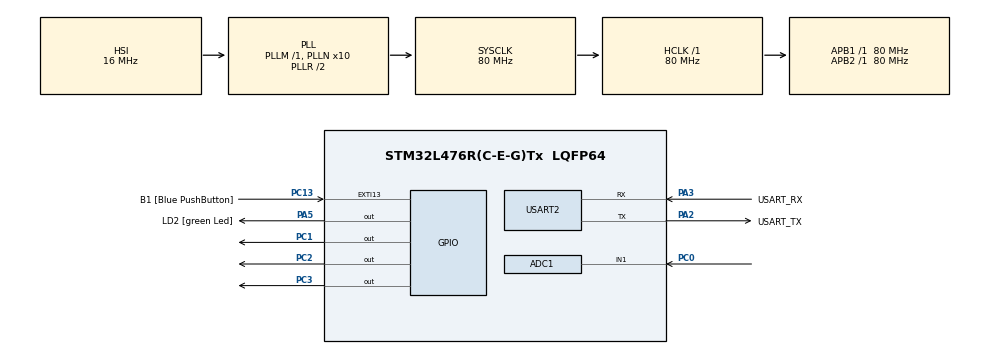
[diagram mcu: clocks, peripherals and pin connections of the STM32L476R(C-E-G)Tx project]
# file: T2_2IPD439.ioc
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ADC1.Channel-2\#ChannelRegularConversion=ADC_CHANNEL_1
ADC1.ClockPrescaler=ADC_CLOCK_ASYNC_DIV1
ADC1.NbrOfConversionFlag=1
ADC1.OffsetNumber-2\#ChannelRegularConversion=ADC_OFFSET_NONE
ADC1.Rank-2\#ChannelRegularConversion=1
ADC1.SamplingTime-2\#ChannelRegularConversion=ADC_SAMPLETIME_2CYCLES_5
ADC1.master=1
FREERTOS.Queues01=fp_queque,100,4,1,Dynamic,NULL,NULL;adc_queue,10,4,1,Dynamic,NULL,NULL;led_queue,10,1,1,Dynamic,NULL,NULL
FREERTOS.Tasks01=TaskLecture,24,512,StartTaskLecture,Default,NULL,Dynamic,NULL,NULL;TaskADC,32,128,StartTaskADC,Default,NULL,Dynamic,NULL,NULL;TaskProc,24,128,StartTaskProc,Default,NULL,Dynamic,NULL,NULL;TaskCtrl,24,128,StartTaskCtrl,Default,NULL,Dynamic,NULL,NULL
FREERTOS.configTOTAL_HEAP_SIZE=8192
Mcu.Family=STM32L4
Mcu.Name=STM32L476R(C-E-G)Tx
Mcu.Package=LQFP64
NVIC.PriorityGroup=NVIC_PRIORITYGROUP_4
NVIC.USART2_IRQn=true\:5\:0\:false\:false\:true\:true\:true\:true\:true
PA13\ (JTMS-SWDIO).GPIO_Label=TMS
PA13\ (JTMS-SWDIO).Mode=Serial_Wire
PA13\ (JTMS-SWDIO).Signal=SYS_JTMS-SWDIO
PA14\ (JTCK-SWCLK).GPIO_Label=TCK
PA14\ (JTCK-SWCLK).Mode=Serial_Wire
PA14\ (JTCK-SWCLK).Signal=SYS_JTCK-SWCLK
PA2.GPIO_Label=USART_TX
PA2.GPIO_Mode=GPIO_MODE_AF_PP
PA2.GPIO_PuPd=GPIO_NOPULL
PA2.GPIO_Speed=GPIO_SPEED_FREQ_VERY_HIGH
PA2.Mode=Asynchronous
PA2.Signal=USART2_TX
PA3.GPIO_Label=USART_RX
PA3.GPIO_Mode=GPIO_MODE_AF_PP
PA3.GPIO_PuPd=GPIO_NOPULL
PA3.GPIO_Speed=GPIO_SPEED_FREQ_VERY_HIGH
PA3.Mode=Asynchronous
PA3.Signal=USART2_RX
PA5.GPIO_Label=LD2 [green Led]
PA5.GPIO_ModeDefaultOutputPP=GPIO_MODE_OUTPUT_PP
PA5.GPIO_PuPd=GPIO_NOPULL
PA5.GPIO_Speed=GPIO_SPEED_FREQ_LOW
PA5.Signal=GPIO_Output
PB3\ (JTDO-TRACESWO).GPIO_Label=SWO
PB3\ (JTDO-TRACESWO).Signal=SYS_JTDO-SWO
PC0.Signal=ADCx_IN1
PC1.Signal=GPIO_Output
PC13.GPIO_Label=B1 [Blue PushButton]
PC13.GPIO_ModeDefaultEXTI=GPIO_MODE_IT_FALLING
PC13.GPIO_PuPd=GPIO_NOPULL
PC13.Signal=GPXTI13
PC14-OSC32_IN\ (PC14).Mode=LSE-External-Oscillator
PC14-OSC32_IN\ (PC14).Signal=RCC_OSC32_IN
PC15-OSC32_OUT\ (PC15).Mode=LSE-External-Oscillator
PC15-OSC32_OUT\ (PC15).Signal=RCC_OSC32_OUT
PC2.Signal=GPIO_Output
PC3.Signal=GPIO_Output
PH0-OSC_IN\ (PH0).Signal=RCC_OSC_IN
PH1-OSC_OUT\ (PH1).Signal=RCC_OSC_OUT
ProjectManager.HeapSize=0x200
ProjectManager.StackSize=0x400
ProjectManager.TargetToolchain=STM32CubeIDE
RCC.ADCFreq_Value=64000000
RCC.AHBFreq_Value=80000000
RCC.APB1Freq_Value=80000000
RCC.APB1TimFreq_Value=80000000
RCC.APB2Freq_Value=80000000
RCC.APB2TimFreq_Value=80000000
RCC.CortexFreq_Value=80000000
RCC.HCLKFreq_Value=80000000
RCC.HSE_VALUE=8000000
RCC.HSI_VALUE=16000000
RCC.MSI_VALUE=4000000
RCC.PLLN=10
RCC.PLLSourceVirtual=RCC_PLLSOURCE_HSI
RCC.PREFETCH_ENABLE=1
RCC.SYSCLKFreq_VALUE=80000000
RCC.SYSCLKSource=RCC_SYSCLKSOURCE_PLLCLK
RCC.USBFreq_Value=64000000
RCC.VCOOutputFreq_Value=160000000
SH.ADCx_IN1.0=ADC1_IN1,IN1-Single-Ended
USART2.VirtualMode-Asynchronous=VM_ASYNC
VP_FREERTOS_VS_CMSIS_V2.Mode=CMSIS_V2
board=NUCLEO-L476RG

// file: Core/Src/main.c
/* USER CODE BEGIN Header */
/**
  ******************************************************************************
  * @file           : main.c
  * @brief          : Main program body
  ******************************************************************************
  * @attention
  *
  * Copyright (c) 2026 STMicroelectronics.
  * All rights reserved.
  *
  * This software is licensed under terms that can be found in the LICENSE file
  * in the root directory of this software component.
  * If no LICENSE file comes with this software, it is provided AS-IS.
  *
  ******************************************************************************
  */
/* USER CODE END Header */
#include "main.h"
#include "cmsis_os.h"

/* USER CODE BEGIN Includes */
#include <math.h>
#include <stdio.h>
#include <string.h>
/* USER CODE END Includes */

ADC_HandleTypeDef hadc1;

UART_HandleTypeDef huart2;

/* Definitions for TaskLecture */
osThreadId_t TaskLectureHandle;
const osThreadAttr_t TaskLecture_attributes = {
  .name = "TaskLecture",
  .stack_size = 512 * 4,
  .priority = (osPriority_t) osPriorityNormal,
};
/* Definitions for TaskADC */
osThreadId_t TaskADCHandle;
const osThreadAttr_t TaskADC_attributes = {
  .name = "TaskADC",
  .stack_size = 128 * 4,
  .priority = (osPriority_t) osPriorityAboveNormal,
};
/* Definitions for TaskProc */
osThreadId_t TaskProcHandle;
const osThreadAttr_t TaskProc_attributes = {
  .name = "TaskProc",
  .stack_size = 128 * 4,
  .priority = (osPriority_t) osPriorityNormal,
};
/* Definitions for TaskCtrl */
osThreadId_t TaskCtrlHandle;
const osThreadAttr_t TaskCtrl_attributes = {
  .name = "TaskCtrl",
  .stack_size = 128 * 4,
  .priority = (osPriority_t) osPriorityNormal,
};
/* Definitions for fp_queque */
osMessageQueueId_t fp_quequeHandle;
const osMessageQueueAttr_t fp_queque_attributes = {
  .name = "fp_queque"
};
/* Definitions for adc_queue */
osMessageQueueId_t adc_queueHandle;
const osMessageQueueAttr_t adc_queue_attributes = {
  .name = "adc_queue"
};
/* Definitions for led_queue */
osMessageQueueId_t led_queueHandle;
const osMessageQueueAttr_t led_queue_attributes = {
  .name = "led_queue"
};
/* USER CODE BEGIN PV */
uint8_t buffer[4];
/* USER CODE END PV */

void SystemClock_Config(void);
static void MX_GPIO_Init(void);
static void MX_USART2_UART_Init(void);
static void MX_ADC1_Init(void);
void StartTaskLecture(void *argument);
void StartTaskADC(void *argument);
void StartTaskProc(void *argument);
void StartTaskCtrl(void *argument);

int main(void)
{

  /* MCU Configuration--------------------------------------------------------*/

  /* Reset of all peripherals, Initializes the Flash interface and the Systick. */
  HAL_Init();

  /* Configure the system clock */
  SystemClock_Config();

  /* Initialize all configured peripherals */
  MX_GPIO_Init();
  MX_USART2_UART_Init();
  MX_ADC1_Init();
  /* USER CODE BEGIN 2 */
  HAL_UART_Receive_IT(&huart2, buffer, 4);
  /* USER CODE END 2 */

  /* Init scheduler */
  osKernelInitialize();

  /* Create the queue(s) */
  /* creation of fp_queque */
  fp_quequeHandle = osMessageQueueNew (100, 4, &fp_queque_attributes);

  /* creation of adc_queue */
  adc_queueHandle = osMessageQueueNew (10, 4, &adc_queue_attributes);

  /* creation of led_queue */
  led_queueHandle = osMessageQueueNew (10, 1, &led_queue_attributes);

  /* Create the thread(s) */
  /* creation of TaskLecture */
  TaskLectureHandle = osThreadNew(StartTaskLecture, NULL, &TaskLecture_attributes);

  /* creation of TaskADC */
  TaskADCHandle = osThreadNew(StartTaskADC, NULL, &TaskADC_attributes);

  /* creation of TaskProc */
  TaskProcHandle = osThreadNew(StartTaskProc, NULL, &TaskProc_attributes);

  /* creation of TaskCtrl */
  TaskCtrlHandle = osThreadNew(StartTaskCtrl, NULL, &TaskCtrl_attributes);

  /* Start scheduler */
  osKernelStart();

  /* We should never get here as control is now taken by the scheduler */

  /* Infinite loop */
  while (1)
  {

  }
}

void SystemClock_Config(void)
{
  RCC_OscInitTypeDef RCC_OscInitStruct = {0};
  RCC_ClkInitTypeDef RCC_ClkInitStruct = {0};

  /** Configure the main internal regulator output voltage
  */
  if (HAL_PWREx_ControlVoltageScaling(PWR_REGULATOR_VOLTAGE_SCALE1) != HAL_OK)
  {
    Error_Handler();
  }

  /** Initializes the RCC Oscillators according to the specified parameters
  * in the RCC_OscInitTypeDef structure.
  */
  RCC_OscInitStruct.OscillatorType = RCC_OSCILLATORTYPE_HSI;
  RCC_OscInitStruct.HSIState = RCC_HSI_ON;
  RCC_OscInitStruct.HSICalibrationValue = RCC_HSICALIBRATION_DEFAULT;
  RCC_OscInitStruct.PLL.PLLState = RCC_PLL_ON;
  RCC_OscInitStruct.PLL.PLLSource = RCC_PLLSOURCE_HSI;
  RCC_OscInitStruct.PLL.PLLM = 1;
  RCC_OscInitStruct.PLL.PLLN = 10;
  RCC_OscInitStruct.PLL.PLLP = RCC_PLLP_DIV7;
  RCC_OscInitStruct.PLL.PLLQ = RCC_PLLQ_DIV2;
  RCC_OscInitStruct.PLL.PLLR = RCC_PLLR_DIV2;
  if (HAL_RCC_OscConfig(&RCC_OscInitStruct) != HAL_OK)
  {
    Error_Handler();
  }

  /** Initializes the CPU, AHB and APB buses clocks
  */
  RCC_ClkInitStruct.ClockType = RCC_CLOCKTYPE_HCLK|RCC_CLOCKTYPE_SYSCLK
                              |RCC_CLOCKTYPE_PCLK1|RCC_CLOCKTYPE_PCLK2;
  RCC_ClkInitStruct.SYSCLKSource = RCC_SYSCLKSOURCE_PLLCLK;
  RCC_ClkInitStruct.AHBCLKDivider = RCC_SYSCLK_DIV1;
  RCC_ClkInitStruct.APB1CLKDivider = RCC_HCLK_DIV1;
  RCC_ClkInitStruct.APB2CLKDivider = RCC_HCLK_DIV1;

  if (HAL_RCC_ClockConfig(&RCC_ClkInitStruct, FLASH_LATENCY_4) != HAL_OK)
  {
    Error_Handler();
  }
}

static void MX_ADC1_Init(void)
{

  ADC_MultiModeTypeDef multimode = {0};
  ADC_ChannelConfTypeDef sConfig = {0};

  /** Common config
  */
  hadc1.Instance = ADC1;
  hadc1.Init.ClockPrescaler = ADC_CLOCK_ASYNC_DIV1;
  hadc1.Init.Resolution = ADC_RESOLUTION_12B;
  hadc1.Init.DataAlign = ADC_DATAALIGN_RIGHT;
  hadc1.Init.ScanConvMode = ADC_SCAN_DISABLE;
  hadc1.Init.EOCSelection = ADC_EOC_SINGLE_CONV;
  hadc1.Init.LowPowerAutoWait = DISABLE;
  hadc1.Init.ContinuousConvMode = DISABLE;
  hadc1.Init.NbrOfConversion = 1;
  hadc1.Init.DiscontinuousConvMode = DISABLE;
  hadc1.Init.ExternalTrigConv = ADC_SOFTWARE_START;
  hadc1.Init.ExternalTrigConvEdge = ADC_EXTERNALTRIGCONVEDGE_NONE;
  hadc1.Init.DMAContinuousRequests = DISABLE;
  hadc1.Init.Overrun = ADC_OVR_DATA_PRESERVED;
  hadc1.Init.OversamplingMode = DISABLE;
  if (HAL_ADC_Init(&hadc1) != HAL_OK)
  {
    Error_Handler();
  }

  /** Configure the ADC multi-mode
  */
  multimode.Mode = ADC_MODE_INDEPENDENT;
  if (HAL_ADCEx_MultiModeConfigChannel(&hadc1, &multimode) != HAL_OK)
  {
    Error_Handler();
  }

  /** Configure Regular Channel
  */
  sConfig.Channel = ADC_CHANNEL_1;
  sConfig.Rank = ADC_REGULAR_RANK_1;
  sConfig.SamplingTime = ADC_SAMPLETIME_2CYCLES_5;
  sConfig.SingleDiff = ADC_SINGLE_ENDED;
  sConfig.OffsetNumber = ADC_OFFSET_NONE;
  sConfig.Offset = 0;
  if (HAL_ADC_ConfigChannel(&hadc1, &sConfig) != HAL_OK)
  {
    Error_Handler();
  }

}

static void MX_USART2_UART_Init(void)
{

  huart2.Instance = USART2;
  huart2.Init.BaudRate = 115200;
  huart2.Init.WordLength = UART_WORDLENGTH_8B;
  huart2.Init.StopBits = UART_STOPBITS_1;
  huart2.Init.Parity = UART_PARITY_NONE;
  huart2.Init.Mode = UART_MODE_TX_RX;
  huart2.Init.HwFlowCtl = UART_HWCONTROL_NONE;
  huart2.Init.OverSampling = UART_OVERSAMPLING_16;
  huart2.Init.OneBitSampling = UART_ONE_BIT_SAMPLE_DISABLE;
  huart2.AdvancedInit.AdvFeatureInit = UART_ADVFEATURE_NO_INIT;
  if (HAL_UART_Init(&huart2) != HAL_OK)
  {
    Error_Handler();
  }

}

static void MX_GPIO_Init(void)
{
  GPIO_InitTypeDef GPIO_InitStruct = {0};

  /* GPIO Ports Clock Enable */
  __HAL_RCC_GPIOC_CLK_ENABLE();
  __HAL_RCC_GPIOH_CLK_ENABLE();
  __HAL_RCC_GPIOA_CLK_ENABLE();
  __HAL_RCC_GPIOB_CLK_ENABLE();

  /*Configure GPIO pin Output Level */
  HAL_GPIO_WritePin(GPIOC, GPIO_PIN_1|GPIO_PIN_2|GPIO_PIN_3, GPIO_PIN_RESET);

  /*Configure GPIO pin Output Level */
  HAL_GPIO_WritePin(LD2_GPIO_Port, LD2_Pin, GPIO_PIN_RESET);

  /*Configure GPIO pin : B1_Pin */
  GPIO_InitStruct.Pin = B1_Pin;
  GPIO_InitStruct.Mode = GPIO_MODE_IT_FALLING;
  GPIO_InitStruct.Pull = GPIO_NOPULL;
  HAL_GPIO_Init(B1_GPIO_Port, &GPIO_InitStruct);

  /*Configure GPIO pins : PC1 PC2 PC3 */
  GPIO_InitStruct.Pin = GPIO_PIN_1|GPIO_PIN_2|GPIO_PIN_3;
  GPIO_InitStruct.Mode = GPIO_MODE_OUTPUT_PP;
  GPIO_InitStruct.Pull = GPIO_NOPULL;
  GPIO_InitStruct.Speed = GPIO_SPEED_FREQ_LOW;
  HAL_GPIO_Init(GPIOC, &GPIO_InitStruct);

  /*Configure GPIO pin : LD2_Pin */
  GPIO_InitStruct.Pin = LD2_Pin;
  GPIO_InitStruct.Mode = GPIO_MODE_OUTPUT_PP;
  GPIO_InitStruct.Pull = GPIO_NOPULL;
  GPIO_InitStruct.Speed = GPIO_SPEED_FREQ_LOW;
  HAL_GPIO_Init(LD2_GPIO_Port, &GPIO_InitStruct);

}

/* USER CODE BEGIN 4 */
void HAL_UART_RxCpltCallback(UART_HandleTypeDef *huart)
{
    static uint8_t estado = 0;
    static uint8_t contador = 0;

    if (huart->Instance == USART2) {
        if (estado == 0) {
            if (buffer[0] == 0xAA && buffer[1] == 0xBB && buffer[2] == 0xCC && buffer[3] == 0xDD) {
                estado = 1;
                contador = 0;
            }
        } else if (estado == 1){
            float dato;
            memcpy(&dato, buffer, sizeof(float));
            osMessageQueuePut(fp_quequeHandle, &dato, 0, 0);

            contador++;
            if (contador >= 100) estado = 0;
        }

        HAL_UART_Receive_IT(&huart2, buffer, 4);
    }
}
/* USER CODE END 4 */

void StartTaskLecture(void *argument)
{
  /* USER CODE BEGIN 5 */
	float datos[100];
	float dato_rx;
	char buffer_tx[64];
	int i = 0;
  /* Infinite loop */
  for(;;)
  {
	  if (osMessageQueueGet(fp_quequeHandle, &dato_rx, NULL, osWaitForever) == osOK) {
		  datos[i]  = dato_rx;
		  i++;
		  if (i == 100) {
			  float sum = 0.0f;
			  for (int j = 0; j<100; j++) sum+=datos[j];
			  sum = sum/100.0f;
			  float stdr = 0.0f;
			  for (int j = 0; j<100; j++) stdr+=powf(datos[j]-sum, 2);
			  stdr = sqrtf(stdr/100.0f);
			  snprintf(buffer_tx, sizeof(buffer_tx), "Media: %.4f | Desv: %.4f\r\n", sum, stdr);
			  HAL_UART_Transmit(&huart2, (uint8_t*)buffer_tx, strlen(buffer_tx), HAL_MAX_DELAY);
			  i = 0;
		  }
	  }
  }
  /* USER CODE END 5 */
}

void StartTaskADC(void *argument)
{
  /* USER CODE BEGIN StartTaskADC */
	float voltaje;
  /* Infinite loop */
  for(;;)
  {
    HAL_ADC_Start(&hadc1);
    if (HAL_ADC_PollForConversion(&hadc1, 10) == HAL_OK){
    	voltaje = (HAL_ADC_GetValue(&hadc1) * 3.3f) / 4095.0f;
    	osMessageQueuePut(adc_queueHandle, &voltaje, 0, 0);
    }
    osDelay(100);
  }
  /* USER CODE END StartTaskADC */
}

void StartTaskProc(void *argument)
{
  /* USER CODE BEGIN StartTaskProc */
	float v_rx;
	uint8_t estado;
  /* Infinite loop */
  for(;;)
  {
	  if (osMessageQueueGet(adc_queueHandle, &v_rx, NULL, osWaitForever) == osOK){
		  if (v_rx <= 1.1f) estado = 1;
		  else if (v_rx <= 2.2f) estado = 2;
		  else estado = 3;
		  osMessageQueuePut(led_queueHandle, &estado, 0, 0);
	  }
  }
  /* USER CODE END StartTaskProc */
}

void StartTaskCtrl(void *argument)
{
  /* USER CODE BEGIN StartTaskCtrl */
	uint8_t estado_rx;
  /* Infinite loop */
  for(;;)
  {
	  if (osMessageQueueGet(led_queueHandle, &estado_rx, NULL, osWaitForever) == osOK) {
		  switch (estado_rx) {
		  case 1:
			  HAL_GPIO_WritePin(GPIOC, GPIO_PIN_1, GPIO_PIN_SET); //R
			  HAL_GPIO_WritePin(GPIOC, GPIO_PIN_2, GPIO_PIN_RESET);
			  HAL_GPIO_WritePin(GPIOC, GPIO_PIN_3, GPIO_PIN_RESET);
			  break;
		  case 2:
			  HAL_GPIO_WritePin(GPIOC, GPIO_PIN_1, GPIO_PIN_RESET);
			  HAL_GPIO_WritePin(GPIOC, GPIO_PIN_2, GPIO_PIN_SET);
			  HAL_GPIO_WritePin(GPIOC, GPIO_PIN_3, GPIO_PIN_RESET);
			  break;
		  case 3:
			  HAL_GPIO_WritePin(GPIOC, GPIO_PIN_1, GPIO_PIN_RESET);
			  HAL_GPIO_WritePin(GPIOC, GPIO_PIN_2, GPIO_PIN_RESET);
			  HAL_GPIO_WritePin(GPIOC, GPIO_PIN_3, GPIO_PIN_SET);
			  break;
		  }
	  }
  }
  /* USER CODE END StartTaskCtrl */
}

void Error_Handler(void)
{
  __disable_irq();
  while (1)
  {
  }
}
